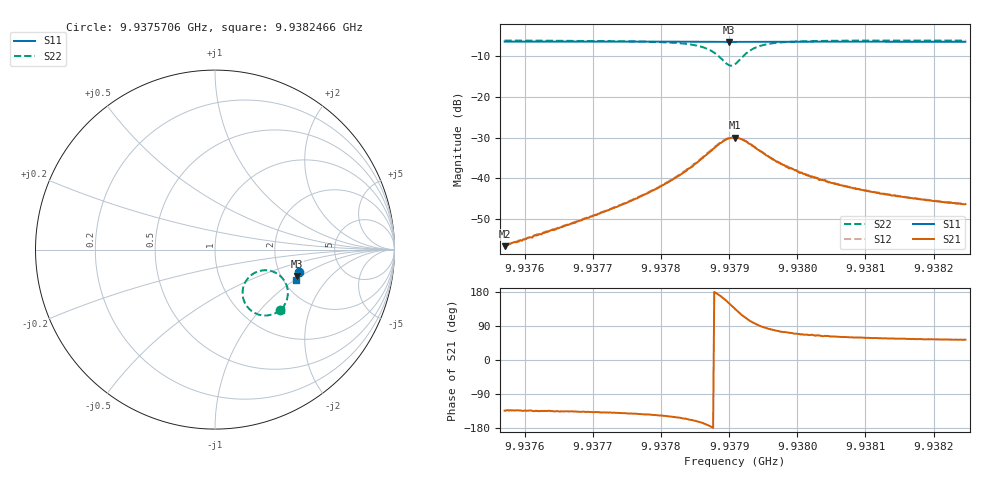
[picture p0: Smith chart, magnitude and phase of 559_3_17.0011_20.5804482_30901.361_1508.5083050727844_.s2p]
#  HZ  S  RI  R  50.00
! Rohde & Schwarz Vector Network Analyzer
! Rohde-Schwarz,ZNB20-2Port,1311601062101988,3.16
! Created: UTC 3/20/2024, 11:17:08 PM
! freq[Hz]  re:S11  im:S11  re:S21  im:S21  re:S12  im:S12  re:S22  im:S22
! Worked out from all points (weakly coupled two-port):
!   401 points, 9.9375706 GHz to 9.9382466 GHz, reference 50 ohm
!   highest |S21| = -29.95 dB at 9.9379086 GHz (marker M1); lowest = -56.7 dB at 9.9375706 GHz (marker M2)
!   lowest |S11| = -6.4 dB at 9.9379002 GHz (marker M3), VSWR 2.83, Z = 121 - j45.8 ohm
!   |S11| at or under -10 dB: nowhere
!   |S22| runs from -12.3 to -6.1 dB; largest |S21 - S12| = 0.0013
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9.93757062e9  0.4657 -0.1262  -0.00101 -0.00106  -0.00104 -0.00111  0.3647 -0.3356
9.93768385e9  0.4629 -0.1339  -0.00223 -0.00209  -0.0023 -0.00211  0.3483 -0.3476
9.93774807e9  0.4612 -0.1381  -0.0038 -0.00314  -0.00393 -0.00316  0.3308 -0.3567
9.93779708e9  0.4598 -0.1415  -0.00644 -0.00431  -0.00661 -0.00429  0.3063 -0.3647
9.93783426e9  0.4585 -0.1441  -0.0108 -0.00509  -0.0111 -0.0051  0.2681 -0.3671
9.9378613e9  0.457 -0.146  -0.0173 -0.00426  -0.0178 -0.00391  0.216 -0.3501
9.93787144e9  0.4562 -0.1465  -0.0209 -0.00216  -0.0215 -0.00184  0.1894 -0.3296
9.93787989e9  0.4556 -0.1468  -0.0243 0.00102  -0.0249 0.00148  0.1677 -0.2999
9.93789172e9  0.4547 -0.1468  -0.0274 0.00846  -0.0278 0.00958  0.1537 -0.2339
9.93790017e9  0.4542 -0.1463  -0.0267 0.0159  -0.0267 0.0171  0.1711 -0.1771
9.93790355e9  0.4545 -0.1462  -0.0255 0.0187  -0.0254 0.0199  0.1863 -0.1565
9.93790862e9  0.4546 -0.146  -0.0224 0.0226  -0.022 0.0237  0.2161 -0.1322
9.93791707e9  0.455 -0.1459  -0.0159 0.0261  -0.0151 0.027  0.2739 -0.1151
9.9379289e9  0.4557 -0.1464  -0.00707 0.0259  -0.0064 0.0265  0.3411 -0.131
9.9379458e9  0.4563 -0.1479  0.000144 0.0216  0.000695 0.0217  0.3888 -0.1777
9.9379627e9  0.4563 -0.1494  0.00289 0.0172  0.00349 0.0173  0.4037 -0.2163
9.93798467e9  0.456 -0.1513  0.00412 0.0133  0.00457 0.0134  0.4059 -0.25
9.93802185e9  0.4551 -0.1541  0.00418 0.00972  0.00444 0.00952  0.3997 -0.2819
9.93807086e9  0.4538 -0.1576  0.00392 0.00695  0.00411 0.00694  0.3905 -0.3032
9.93813508e9  0.4521 -0.1619  0.00345 0.00522  0.00357 0.00525  0.3808 -0.3188
9.93818747e9  0.4506 -0.1653  0.00314 0.00443  0.00323 0.00443  0.3747 -0.3267
9.93824662e9  0.4491 -0.1691  0.00286 0.00388  0.003 0.00383  0.3689 -0.334
